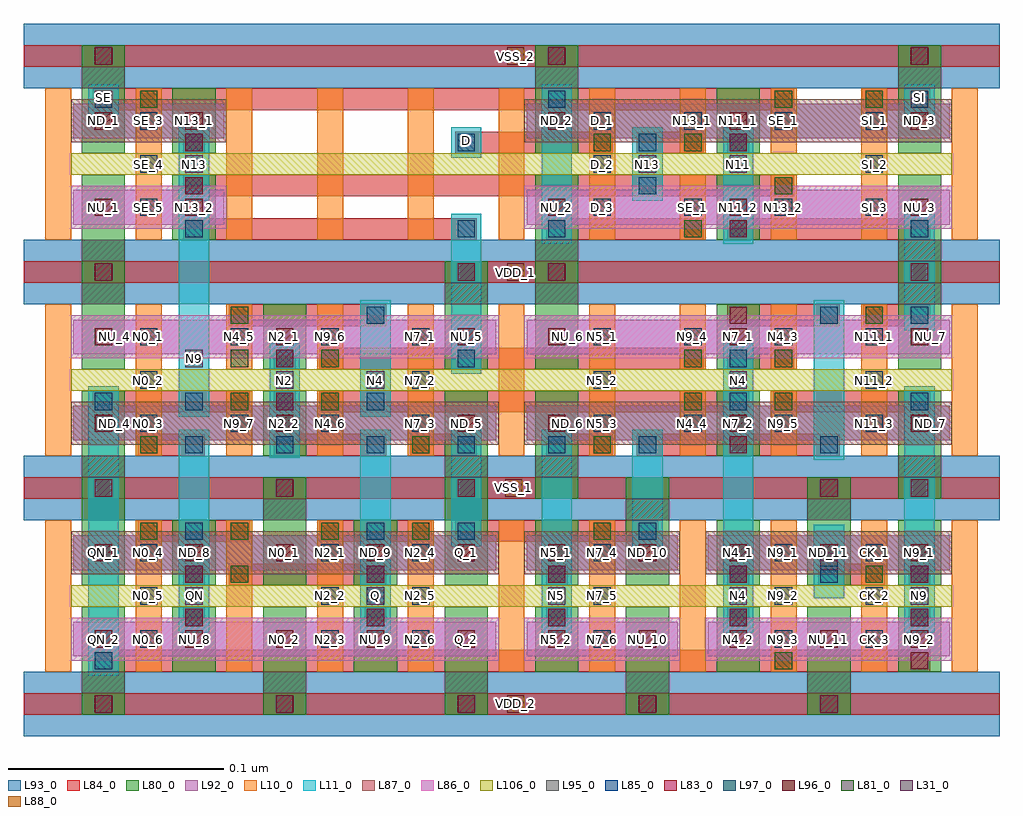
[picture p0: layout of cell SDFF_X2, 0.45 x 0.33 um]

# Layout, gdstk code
import gdstk
lib = gdstk.Library(unit=1e-6, precision=1e-09)
def R(c, l, rs):  # rectangles x0, y0, x1, y1
    for r in rs: c.add(gdstk.rectangle(r[:2], r[2:], *l))
def A(c, l, x, y, w, h, nx, ny, dx, dy):  # array of equal rectangles
    R(c, l, [(x+i*dx, y+j*dy, x+i*dx+w, y+j*dy+h) for i in range(nx) for j in range(ny)])
L10_0 = (10, 0)
L11_0 = (11, 0)
L31_0 = (31, 0)
L80_0 = (80, 0)
L81_0 = (81, 0)
L83_0 = (83, 0)
L84_0 = (84, 0)
L85_0 = (85, 0)
L86_0 = (86, 0)
L87_0 = (87, 0)
L88_0 = (88, 0)
L92_0 = (92, 0)
L93_0 = (93, 0)
L95_0 = (95, 0)
L96_0 = (96, 0)
L97_0 = (97, 0)
L106_0 = (106, 0)

sdff_x2 = lib.new_cell('SDFF_X2')
A(sdff_x2, L10_0, -0.027, 0.015, 0.012, 0.07, 11, 1, 0.042, 0)
A(sdff_x2, L10_0, 0.141, 0.115, 0.012, 0.07, 3, 1, 0.042, 0)
A(sdff_x2, L10_0, -0.027, 0.215, 0.012, 0.07, 7, 1, 0.042, 0)
R(sdff_x2, L10_0, [(-0.027,0.115,-0.015,0.185), (0.015,0.115,0.027,0.185), (0.057,0.115,0.069,0.145), (0.099,0.115,0.111,0.145), (0.141,0.115,0.153,0.185), (0.267,0.115,0.279,0.145), (0.309,0.115,0.321,0.145), (0.351,0.115,0.363,0.185), (0.351,0.115,0.363,0.185), (0.393,0.115,0.405,0.185), (0.057,0.155,0.069,0.185), (0.099,0.155,0.111,0.185), (0.099,0.155,0.111,0.185), (0.267,0.155,0.279,0.185), (0.309,0.155,0.321,0.185), (0.309,0.155,0.321,0.185), (0.267,0.215,0.279,0.245), (0.309,0.215,0.321,0.245), (0.351,0.215,0.363,0.285), (0.351,0.215,0.363,0.285), (0.393,0.215,0.405,0.285), (0.267,0.255,0.279,0.285), (0.309,0.255,0.321,0.285), (0.309,0.255,0.321,0.285)])
A(sdff_x2, L11_0, 0.035, 0.033, 0.014, 0.034, 3, 1, 0.084, 0)
R(sdff_x2, L11_0, [(-0.007,0.013,0.007,0.147), (0.203,0.033,0.217,0.067), (0.287,0.033,0.301,0.067), (0.287,0.033,0.301,0.067), (0.371,0.033,0.385,0.067), (0.371,0.033,0.385,0.147), (0.329,0.049,0.343,0.083), (0.203,0.065,0.217,0.127), (0.287,0.066,0.301,0.143), (0.035,0.073,0.049,0.127), (0.119,0.073,0.133,0.127), (0.161,0.073,0.175,0.127), (0.245,0.073,0.259,0.127), (0.329,0.113,0.343,0.187), (0.077,0.114,0.091,0.167), (0.035,0.133,0.049,0.227), (0.077,0.133,0.091,0.167), (0.119,0.133,0.133,0.187), (0.119,0.133,0.133,0.167), (0.287,0.133,0.301,0.167), (0.287,0.133,0.301,0.167), (0.161,0.153,0.175,0.227), (0.371,0.173,0.385,0.227), (0.203,0.213,0.217,0.287), (0.287,0.213,0.301,0.267), (0.035,0.233,0.049,0.267), (0.245,0.233,0.259,0.267), (0.161,0.253,0.175,0.267), (-0.007,0.273,0.007,0.287), (0.371,0.273,0.385,0.287)])
A(sdff_x2, L31_0, 0.038, 0.046, 0.008, 0.008, 5, 1, 0.084, 0)
R(sdff_x2, L31_0, [(0.332,0.062,0.34,0.07), (0.08,0.146,0.088,0.154), (0.122,0.146,0.13,0.154), (0.29,0.146,0.298,0.154), (0.038,0.156,0.046,0.164), (0.038,0.246,0.046,0.254), (0.248,0.246,0.256,0.254), (0.29,0.246,0.298,0.254), (-0.004,0.276,0.004,0.284), (0.374,0.276,0.382,0.284)])
A(sdff_x2, L80_0, 0.074, -0.005, 0.02, 0.03, 4, 1, 0.084, 0)
A(sdff_x2, L80_0, 0.032, 0.015, 0.02, 0.03, 9, 2, 0.042, 0.04)
A(sdff_x2, L80_0, -0.01, 0.115, 0.02, 0.03, 3, 2, 0.084, 0.04)
A(sdff_x2, L80_0, 0.2, 0.115, 0.02, 0.03, 3, 2, 0.084, 0.04)
A(sdff_x2, L80_0, -0.01, 0.175, 0.02, 0.03, 1, 3, 0, 0.02)
A(sdff_x2, L80_0, 0.2, 0.215, 0.02, 0.03, 3, 2, 0.084, 0.04)
R(sdff_x2, L80_0, [(-0.01,-0.005,0.01,0.045), (-0.01,0.055,0.01,0.085), (0.032,0.055,0.052,0.085), (0.074,0.075,0.094,0.105), (0.242,0.075,0.262,0.105), (0.326,0.075,0.346,0.105), (-0.01,0.08,0.01,0.101), (0.158,0.08,0.178,0.101), (-0.01,0.095,0.01,0.125), (0.158,0.095,0.178,0.125), (0.2,0.095,0.22,0.125), (0.368,0.095,0.388,0.125), (0.158,0.175,0.178,0.205), (0.2,0.175,0.22,0.205), (0.368,0.175,0.388,0.205), (0.2,0.195,0.22,0.225), (0.2,0.195,0.22,0.225), (0.368,0.195,0.388,0.225), (0.032,0.215,0.052,0.245), (-0.01,0.255,0.01,0.285), (0.032,0.255,0.052,0.285), (-0.01,0.275,0.01,0.305), (0.2,0.275,0.22,0.305), (0.368,0.275,0.388,0.305)])
A(sdff_x2, L81_0, 0.017, 0.076, 0.008, 0.008, 4, 1, 0.042, 0)
A(sdff_x2, L81_0, 0.059, 0.136, 0.008, 0.008, 1, 3, 0, 0.02)
R(sdff_x2, L81_0, [(0.311,0.016,0.319,0.024), (0.059,0.056,0.067,0.064), (0.353,0.056,0.361,0.064), (0.227,0.076,0.235,0.084), (0.017,0.116,0.025,0.124), (0.017,0.116,0.025,0.124), (0.143,0.116,0.151,0.124), (0.227,0.116,0.235,0.124), (0.227,0.116,0.235,0.124), (0.227,0.116,0.235,0.124), (0.101,0.136,0.109,0.144), (0.101,0.136,0.109,0.144), (0.269,0.136,0.277,0.144), (0.311,0.136,0.319,0.144), (0.101,0.156,0.109,0.164), (0.269,0.156,0.277,0.164), (0.311,0.156,0.319,0.164), (0.311,0.156,0.319,0.164), (0.353,0.176,0.361,0.184), (0.269,0.216,0.277,0.224), (0.269,0.216,0.277,0.224), (0.311,0.236,0.319,0.244), (0.311,0.236,0.319,0.244), (0.227,0.256,0.235,0.264), (0.269,0.256,0.277,0.264), (0.017,0.276,0.025,0.284), (0.311,0.276,0.319,0.284), (0.353,0.276,0.361,0.284)])
A(sdff_x2, L83_0, -0.004, -0.004, 0.008, 0.008, 5, 1, 0.084, 0)
A(sdff_x2, L83_0, 0.038, 0.036, 0.008, 0.008, 3, 1, 0.084, 0)
A(sdff_x2, L83_0, 0.29, 0.056, 0.008, 0.008, 1, 3, 0, 0.06)
A(sdff_x2, L83_0, -0.004, 0.096, 0.008, 0.008, 3, 1, 0.084, 0)
R(sdff_x2, L83_0, [(0.332,-0.004,0.34,0.004), (0.332,-0.004,0.34,0.004), (0.332,-0.004,0.34,0.004), (0.374,0.016,0.382,0.024), (0.374,0.016,0.382,0.024), (0.206,0.036,0.214,0.044), (0.29,0.036,0.298,0.044), (0.29,0.036,0.298,0.044), (0.374,0.036,0.382,0.044), (0.374,0.036,0.382,0.044), (0.038,0.056,0.046,0.064), (0.038,0.056,0.046,0.064), (0.122,0.056,0.13,0.064), (0.122,0.056,0.13,0.064), (0.206,0.056,0.214,0.064), (0.206,0.056,0.214,0.064), (0.29,0.056,0.298,0.064), (0.374,0.056,0.382,0.064), (0.164,0.096,0.172,0.104), (0.164,0.096,0.172,0.104), (0.164,0.096,0.172,0.104), (0.332,0.096,0.34,0.104), (0.374,0.096,0.382,0.104), (0.374,0.096,0.382,0.104), (0.374,0.096,0.382,0.104), (0.374,0.096,0.382,0.104), (0.08,0.136,0.088,0.144), (0.08,0.156,0.088,0.164), (-0.004,0.196,0.004,0.204), (-0.004,0.196,0.004,0.204), (0.164,0.196,0.172,0.204), (0.206,0.196,0.214,0.204), (0.206,0.196,0.214,0.204), (0.206,0.196,0.214,0.204), (0.374,0.196,0.382,0.204), (0.374,0.196,0.382,0.204), (0.29,0.216,0.298,0.224), (0.038,0.236,0.046,0.244), (0.038,0.256,0.046,0.264), (0.29,0.256,0.298,0.264), (-0.004,0.296,0.004,0.304), (0.206,0.296,0.214,0.304), (0.374,0.296,0.382,0.304)])
A(sdff_x2, L84_0, -0.037, -0.005, 0.452, 0.01, 1, 4, 0, 0.1)
A(sdff_x2, L84_0, 0.037, 0.035, 0.01, 0.01, 4, 1, 0.084, 0)
A(sdff_x2, L84_0, 0.037, 0.055, 0.01, 0.01, 3, 1, 0.084, 0)
R(sdff_x2, L84_0, [(-0.005,0.015,0.32,0.025), (0.31,0.015,0.383,0.025), (0.289,0.035,0.299,0.045), (0.373,0.035,0.383,0.045), (0.373,0.035,0.383,0.045), (0.058,0.055,0.131,0.065), (0.205,0.055,0.215,0.065), (0.289,0.055,0.299,0.065), (0.289,0.055,0.299,0.065), (0.331,0.055,0.362,0.065), (0.373,0.055,0.383,0.065), (0.016,0.075,0.068,0.085), (0.1,0.075,0.152,0.085), (0.163,0.075,0.236,0.085), (0.184,0.075,0.257,0.085), (0.016,0.115,0.047,0.125), (0.079,0.115,0.131,0.125), (0.142,0.115,0.173,0.125), (0.205,0.115,0.236,0.125), (0.247,0.115,0.341,0.125), (-0.005,0.135,0.068,0.145), (0.079,0.135,0.089,0.145), (0.1,0.135,0.269,0.145), (0.268,0.135,0.299,0.145), (0.31,0.135,0.383,0.145), (0.079,0.155,0.089,0.165), (0.1,0.155,0.278,0.165), (0.289,0.155,0.32,0.165), (0.058,0.175,0.131,0.185), (0.289,0.175,0.341,0.185), (0.352,0.175,0.383,0.185), (0.037,0.215,0.173,0.225), (0.205,0.215,0.278,0.225), (0.289,0.215,0.383,0.225), (0.037,0.235,0.047,0.245), (0.037,0.235,0.257,0.245), (0.247,0.235,0.32,0.245), (0.037,0.255,0.047,0.265), (0.163,0.255,0.236,0.265), (0.247,0.255,0.278,0.265), (0.289,0.255,0.299,0.265), (-0.005,0.275,0.026,0.285), (0.016,0.275,0.32,0.285), (0.351,0.275,0.383,0.285)])
A(sdff_x2, L85_0, 0.038, 0.036, 0.008, 0.008, 3, 1, 0.084, 0)
A(sdff_x2, L85_0, 0.29, 0.056, 0.008, 0.008, 3, 1, 0.042, 0)
A(sdff_x2, L85_0, 0.038, 0.116, 0.008, 0.008, 6, 1, 0.042, 0)
A(sdff_x2, L85_0, -0.004, 0.136, 0.008, 0.008, 3, 1, 0.042, 0)
A(sdff_x2, L85_0, 0.038, 0.216, 0.008, 0.008, 1, 3, 0, 0.02)
A(sdff_x2, L85_0, 0.206, 0.216, 0.008, 0.008, 3, 1, 0.084, 0)
R(sdff_x2, L85_0, [(-0.004,0.016,0.004,0.024), (0.206,0.036,0.214,0.044), (0.29,0.036,0.298,0.044), (0.29,0.036,0.298,0.044), (0.374,0.036,0.382,0.044), (0.374,0.036,0.382,0.044), (0.122,0.046,0.13,0.054), (0.038,0.056,0.046,0.064), (0.038,0.056,0.046,0.064), (0.122,0.056,0.13,0.064), (0.122,0.056,0.13,0.064), (0.206,0.056,0.214,0.064), (0.206,0.056,0.214,0.064), (0.29,0.056,0.298,0.064), (0.038,0.076,0.046,0.084), (0.038,0.076,0.046,0.084), (0.122,0.076,0.13,0.084), (0.164,0.076,0.172,0.084), (0.164,0.076,0.172,0.084), (0.164,0.076,0.172,0.084), (0.248,0.076,0.256,0.084), (0.332,0.116,0.34,0.124), (0.08,0.136,0.088,0.144), (0.122,0.136,0.13,0.144), (0.29,0.136,0.298,0.144), (0.29,0.136,0.298,0.144), (0.374,0.136,0.382,0.144), (0.08,0.156,0.088,0.164), (0.08,0.156,0.088,0.164), (0.164,0.156,0.172,0.164), (0.29,0.156,0.298,0.164), (0.29,0.156,0.298,0.164), (0.122,0.176,0.13,0.184), (0.332,0.176,0.34,0.184), (0.374,0.176,0.382,0.184), (0.164,0.216,0.172,0.224), (0.248,0.236,0.256,0.244), (0.164,0.256,0.172,0.264), (0.164,0.256,0.172,0.264), (0.248,0.256,0.256,0.264), (0.29,0.256,0.298,0.264), (-0.004,0.276,0.004,0.284), (-0.004,0.276,0.004,0.284), (0.206,0.276,0.214,0.284), (0.374,0.276,0.382,0.284)])
R(sdff_x2, L86_0, [(-0.015,0.02,0.183,0.04), (0.195,0.02,0.267,0.04), (0.279,0.02,0.393,0.04), (-0.015,0.16,0.183,0.18), (0.195,0.16,0.393,0.18), (-0.015,0.22,0.057,0.24), (0.195,0.22,0.393,0.24)])
R(sdff_x2, L87_0, [(-0.015,0.06,0.183,0.08), (0.195,0.06,0.267,0.08), (0.279,0.06,0.393,0.08), (-0.015,0.12,0.183,0.14), (0.195,0.12,0.393,0.14), (-0.015,0.26,0.057,0.28), (0.195,0.26,0.393,0.28)])
R(sdff_x2, L88_0, [(0.187,-0.004,0.195,0.004), (0.186,0.096,0.194,0.104), (0.187,0.196,0.195,0.204), (0.187,0.296,0.195,0.304)])
R(sdff_x2, L92_0, [(-0.014,0.022,0.182,0.038), (0.196,0.022,0.266,0.038), (0.28,0.022,0.392,0.038), (-0.014,0.062,0.182,0.078), (0.196,0.062,0.266,0.078), (0.28,0.062,0.392,0.078), (-0.014,0.122,0.182,0.138), (0.196,0.122,0.392,0.138), (-0.014,0.162,0.182,0.178), (0.196,0.162,0.392,0.178), (-0.014,0.222,0.056,0.238), (0.196,0.222,0.392,0.238), (-0.014,0.262,0.056,0.278), (0.196,0.262,0.392,0.278)])
A(sdff_x2, L93_0, -0.037, -0.015, 0.452, 0.03, 1, 4, 0, 0.1)
A(sdff_x2, L95_0, -0.01, 0.005, 0.02, 0.01, 5, 1, 0.084, 0)
R(sdff_x2, L95_0, [(0.074,0.085,0.094,0.095), (0.242,0.085,0.262,0.095), (0.326,0.085,0.346,0.095), (-0.01,0.105,0.01,0.115), (0.158,0.105,0.178,0.115), (0.2,0.105,0.22,0.115), (0.368,0.105,0.388,0.115), (-0.01,0.185,0.01,0.195), (0.158,0.185,0.178,0.195), (0.2,0.185,0.22,0.195), (0.368,0.185,0.388,0.195), (-0.01,0.205,0.01,0.215), (0.2,0.205,0.22,0.215), (0.2,0.205,0.22,0.215), (0.368,0.205,0.388,0.215), (-0.01,0.285,0.01,0.295), (0.2,0.285,0.22,0.295), (0.368,0.285,0.388,0.295)])
A(sdff_x2, L96_0, -0.004, 0.026, 0.008, 0.008, 10, 2, 0.042, 0.04)
A(sdff_x2, L96_0, -0.004, 0.126, 0.008, 0.008, 3, 2, 0.084, 0.04)
A(sdff_x2, L96_0, 0.206, 0.126, 0.008, 0.008, 3, 2, 0.084, 0.04)
A(sdff_x2, L96_0, 0.206, 0.226, 0.008, 0.008, 3, 2, 0.084, 0.04)
R(sdff_x2, L96_0, [(-0.004,0.226,0.004,0.234), (0.038,0.226,0.046,0.234), (-0.004,0.266,0.004,0.274), (0.038,0.266,0.046,0.274)])
A(sdff_x2, L97_0, 0.017, 0.026, 0.008, 0.008, 1, 3, 0, 0.02)
A(sdff_x2, L97_0, 0.101, 0.026, 0.008, 0.008, 1, 3, 0, 0.02)
A(sdff_x2, L97_0, 0.143, 0.026, 0.008, 0.008, 3, 3, 0.084, 0.02)
A(sdff_x2, L97_0, 0.353, 0.026, 0.008, 0.008, 1, 3, 0, 0.02)
A(sdff_x2, L97_0, 0.017, 0.126, 0.008, 0.008, 4, 2, 0.042, 0.04)
A(sdff_x2, L97_0, 0.227, 0.126, 0.008, 0.008, 4, 2, 0.042, 0.04)
A(sdff_x2, L97_0, 0.017, 0.226, 0.008, 0.008, 1, 3, 0, 0.02)
A(sdff_x2, L97_0, 0.227, 0.226, 0.008, 0.008, 4, 2, 0.042, 0.04)
R(sdff_x2, L97_0, [(0.017,0.146,0.025,0.154), (0.143,0.146,0.151,0.154), (0.227,0.146,0.235,0.154), (0.353,0.146,0.361,0.154), (0.227,0.246,0.235,0.254), (0.353,0.246,0.361,0.254)])
A(sdff_x2, L106_0, -0.015, 0.045, 0.408, 0.01, 1, 3, 0, 0.1)
sdff_x2.add(gdstk.Label('N0_6', (0.021,0.03), layer=97, texttype=0))
sdff_x2.add(gdstk.Label('N0_4', (0.021,0.07), layer=97, texttype=0))
sdff_x2.add(gdstk.Label('N0_3', (0.021,0.13), layer=97, texttype=0))
sdff_x2.add(gdstk.Label('N0_1', (0.021,0.17), layer=97, texttype=0))
sdff_x2.add(gdstk.Label('N7_1', (0.147,0.17), layer=97, texttype=0))
sdff_x2.add(gdstk.Label('N7_3', (0.147,0.13), layer=97, texttype=0))
sdff_x2.add(gdstk.Label('N5_3', (0.231,0.13), layer=97, texttype=0))
sdff_x2.add(gdstk.Label('N5_1', (0.231,0.17), layer=97, texttype=0))
sdff_x2.add(gdstk.Label('N11_3', (0.357,0.13), layer=97, texttype=0))
sdff_x2.add(gdstk.Label('N11_1', (0.357,0.17), layer=97, texttype=0))
sdff_x2.add(gdstk.Label('CK_3', (0.357,0.03), layer=97, texttype=0))
sdff_x2.add(gdstk.Label('CK_1', (0.357,0.07), layer=97, texttype=0))
sdff_x2.add(gdstk.Label('N9_3', (0.315,0.03), layer=97, texttype=0))
sdff_x2.add(gdstk.Label('N9_1', (0.315,0.07), layer=97, texttype=0))
sdff_x2.add(gdstk.Label('N7_6', (0.231,0.03), layer=97, texttype=0))
sdff_x2.add(gdstk.Label('N7_4', (0.231,0.07), layer=97, texttype=0))
sdff_x2.add(gdstk.Label('N2_4', (0.147,0.07), layer=97, texttype=0))
sdff_x2.add(gdstk.Label('N2_6', (0.147,0.03), layer=97, texttype=0))
sdff_x2.add(gdstk.Label('N2_1', (0.105,0.07), layer=97, texttype=0))
sdff_x2.add(gdstk.Label('N2_3', (0.105,0.03), layer=97, texttype=0))
sdff_x2.add(gdstk.Label('SE_4', (0.021,0.25), layer=97, texttype=0))
sdff_x2.add(gdstk.Label('D_2', (0.231,0.25), layer=97, texttype=0))
sdff_x2.add(gdstk.Label('SE_1', (0.273,0.23), layer=97, texttype=0))
sdff_x2.add(gdstk.Label('N13_1', (0.273,0.27), layer=97, texttype=0))
sdff_x2.add(gdstk.Label('SI_2', (0.357,0.25), layer=97, texttype=0))
sdff_x2.add(gdstk.Label('N0_2', (0.021,0.15), layer=97, texttype=0))
sdff_x2.add(gdstk.Label('N7_5', (0.231,0.05), layer=97, texttype=0))
sdff_x2.add(gdstk.Label('SE_1', (0.315,0.27), layer=97, texttype=0))
sdff_x2.add(gdstk.Label('N2_5', (0.147,0.05), layer=97, texttype=0))
sdff_x2.add(gdstk.Label('N4_6', (0.105,0.13), layer=97, texttype=0))
sdff_x2.add(gdstk.Label('N13_2', (0.315,0.23), layer=97, texttype=0))
sdff_x2.add(gdstk.Label('N11_2', (0.357,0.15), layer=97, texttype=0))
sdff_x2.add(gdstk.Label('N9_5', (0.315,0.13), layer=97, texttype=0))
sdff_x2.add(gdstk.Label('N4_3', (0.315,0.17), layer=97, texttype=0))
sdff_x2.add(gdstk.Label('N9_4', (0.273,0.17), layer=97, texttype=0))
sdff_x2.add(gdstk.Label('N4_4', (0.273,0.13), layer=97, texttype=0))
sdff_x2.add(gdstk.Label('N5_2', (0.231,0.15), layer=97, texttype=0))
sdff_x2.add(gdstk.Label('N4_5', (0.063,0.17), layer=97, texttype=0))
sdff_x2.add(gdstk.Label('N7_2', (0.147,0.15), layer=97, texttype=0))
sdff_x2.add(gdstk.Label('N9_7', (0.063,0.13), layer=97, texttype=0))
sdff_x2.add(gdstk.Label('N9_2', (0.315,0.05), layer=97, texttype=0))
sdff_x2.add(gdstk.Label('N9_6', (0.105,0.17), layer=97, texttype=0))
sdff_x2.add(gdstk.Label('CK_2', (0.357,0.05), layer=97, texttype=0))
sdff_x2.add(gdstk.Label('N0_5', (0.021,0.05), layer=97, texttype=0))
sdff_x2.add(gdstk.Label('N2_2', (0.105,0.05), layer=97, texttype=0))
sdff_x2.add(gdstk.Label('SE_5', (0.021,0.23), layer=97, texttype=0))
sdff_x2.add(gdstk.Label('SE_3', (0.021,0.27), layer=97, texttype=0))
sdff_x2.add(gdstk.Label('D_3', (0.231,0.23), layer=97, texttype=0))
sdff_x2.add(gdstk.Label('D_1', (0.231,0.27), layer=97, texttype=0))
sdff_x2.add(gdstk.Label('SI_1', (0.357,0.27), layer=97, texttype=0))
sdff_x2.add(gdstk.Label('SI_3', (0.357,0.23), layer=97, texttype=0))
sdff_x2.add(gdstk.Label('N4_1', (0.294,0.07), layer=96, texttype=0))
sdff_x2.add(gdstk.Label('N4_2', (0.294,0.03), layer=96, texttype=0))
sdff_x2.add(gdstk.Label('ND_1', (0,0.27), layer=96, texttype=0))
sdff_x2.add(gdstk.Label('NU_1', (0,0.23), layer=96, texttype=0))
sdff_x2.add(gdstk.Label('ND_3', (0.378,0.27), layer=96, texttype=0))
sdff_x2.add(gdstk.Label('NU_3', (0.378,0.23), layer=96, texttype=0))
sdff_x2.add(gdstk.Label('ND_2', (0.21,0.27), layer=96, texttype=0))
sdff_x2.add(gdstk.Label('NU_2', (0.21,0.23), layer=96, texttype=0))
sdff_x2.add(gdstk.Label('N11_1', (0.294,0.27), layer=96, texttype=0))
sdff_x2.add(gdstk.Label('N11_2', (0.294,0.23), layer=96, texttype=0))
sdff_x2.add(gdstk.Label('ND_5', (0.168,0.13), layer=96, texttype=0))
sdff_x2.add(gdstk.Label('NU_5', (0.168,0.17), layer=96, texttype=0))
sdff_x2.add(gdstk.Label('NU_9', (0.126,0.03), layer=96, texttype=0))
sdff_x2.add(gdstk.Label('N9_2', (0.378,0.03), layer=96, texttype=0))
sdff_x2.add(gdstk.Label('N9_1', (0.378,0.07), layer=96, texttype=0))
sdff_x2.add(gdstk.Label('NU_11', (0.336,0.03), layer=96, texttype=0))
sdff_x2.add(gdstk.Label('ND_11', (0.336,0.07), layer=96, texttype=0))
sdff_x2.add(gdstk.Label('Q_2', (0.168,0.03), layer=96, texttype=0))
sdff_x2.add(gdstk.Label('N0_2', (0.084,0.03), layer=96, texttype=0))
sdff_x2.add(gdstk.Label('ND_9', (0.126,0.07), layer=96, texttype=0))
sdff_x2.add(gdstk.Label('ND_8', (0.042,0.07), layer=96, texttype=0))
sdff_x2.add(gdstk.Label('N0_1', (0.084,0.07), layer=96, texttype=0))
sdff_x2.add(gdstk.Label('NU_4', (0.005,0.17), layer=96, texttype=0))
sdff_x2.add(gdstk.Label('N2_1', (0.084,0.17), layer=96, texttype=0))
sdff_x2.add(gdstk.Label('N2_2', (0.084,0.13), layer=96, texttype=0))
sdff_x2.add(gdstk.Label('ND_10', (0.252,0.07), layer=96, texttype=0))
sdff_x2.add(gdstk.Label('NU_10', (0.252,0.03), layer=96, texttype=0))
sdff_x2.add(gdstk.Label('ND_4', (0.005,0.13), layer=96, texttype=0))
sdff_x2.add(gdstk.Label('QN_1', (0,0.07), layer=96, texttype=0))
sdff_x2.add(gdstk.Label('QN_2', (0,0.03), layer=96, texttype=0))
sdff_x2.add(gdstk.Label('N5_1', (0.21,0.07), layer=96, texttype=0))
sdff_x2.add(gdstk.Label('N5_2', (0.21,0.03), layer=96, texttype=0))
sdff_x2.add(gdstk.Label('N7_2', (0.294,0.13), layer=96, texttype=0))
sdff_x2.add(gdstk.Label('N7_1', (0.294,0.17), layer=96, texttype=0))
sdff_x2.add(gdstk.Label('ND_6', (0.215,0.13), layer=96, texttype=0))
sdff_x2.add(gdstk.Label('NU_6', (0.215,0.17), layer=96, texttype=0))
sdff_x2.add(gdstk.Label('Q_1', (0.168,0.07), layer=96, texttype=0))
sdff_x2.add(gdstk.Label('NU_8', (0.042,0.03), layer=96, texttype=0))
sdff_x2.add(gdstk.Label('ND_7', (0.383,0.13), layer=96, texttype=0))
sdff_x2.add(gdstk.Label('NU_7', (0.383,0.17), layer=96, texttype=0))
sdff_x2.add(gdstk.Label('N13_2', (0.042,0.23), layer=96, texttype=0))
sdff_x2.add(gdstk.Label('N13_1', (0.042,0.27), layer=96, texttype=0))
sdff_x2.add(gdstk.Label('VSS_1', (0.19,0.1), layer=88, texttype=0))
sdff_x2.add(gdstk.Label('VDD_2', (0.191,0), layer=88, texttype=0))
sdff_x2.add(gdstk.Label('VDD_1', (0.191,0.2), layer=88, texttype=0))
sdff_x2.add(gdstk.Label('VSS_2', (0.191,0.3), layer=88, texttype=0))
sdff_x2.add(gdstk.Label('SI', (0.378,0.281), layer=31, texttype=0))
sdff_x2.add(gdstk.Label('SE', (0,0.281), layer=31, texttype=0))
sdff_x2.add(gdstk.Label('D', (0.168,0.261), layer=31, texttype=0))
sdff_x2.add(gdstk.Label('N13', (0.042,0.25), layer=31, texttype=0))
sdff_x2.add(gdstk.Label('N13', (0.252,0.25), layer=31, texttype=0))
sdff_x2.add(gdstk.Label('N11', (0.294,0.25), layer=31, texttype=0))
sdff_x2.add(gdstk.Label('N4', (0.126,0.15), layer=31, texttype=0))
sdff_x2.add(gdstk.Label('N2', (0.084,0.15), layer=31, texttype=0))
sdff_x2.add(gdstk.Label('N4', (0.294,0.05), layer=31, texttype=0))
sdff_x2.add(gdstk.Label('N9', (0.378,0.05), layer=31, texttype=0))
sdff_x2.add(gdstk.Label('CK', (0.336,0.066), layer=31, texttype=0))
sdff_x2.add(gdstk.Label('N4', (0.294,0.15), layer=31, texttype=0))
sdff_x2.add(gdstk.Label('QN', (0.042,0.05), layer=31, texttype=0))
sdff_x2.add(gdstk.Label('N5', (0.21,0.05), layer=31, texttype=0))
sdff_x2.add(gdstk.Label('N9', (0.042,0.16), layer=31, texttype=0))
sdff_x2.add(gdstk.Label('Q', (0.126,0.05), layer=31, texttype=0))

lib.write_gds('SDFF_X2.gds')
